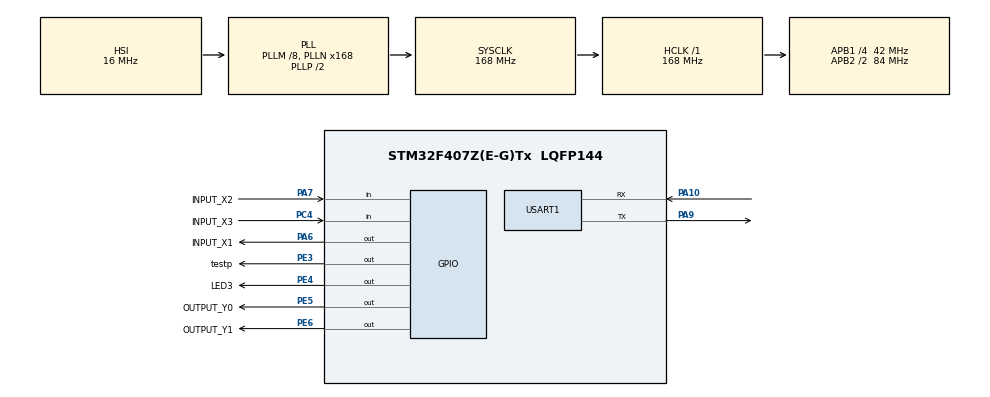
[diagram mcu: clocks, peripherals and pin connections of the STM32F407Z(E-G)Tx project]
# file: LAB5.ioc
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Mcu.Family=STM32F4
Mcu.Name=STM32F407Z(E-G)Tx
Mcu.Package=LQFP144
NVIC.PriorityGroup=NVIC_PRIORITYGROUP_4
NVIC.USART1_IRQn=true\:0\:0\:false\:false\:true\:true\:true\:true
PA10.Mode=Asynchronous
PA10.Signal=USART1_RX
PA13.Mode=Serial_Wire
PA13.Signal=SYS_JTMS-SWDIO
PA14.Mode=Serial_Wire
PA14.Signal=SYS_JTCK-SWCLK
PA6.GPIO_Label=INPUT_X1
PA6.Signal=GPIO_Output
PA7.GPIO_Label=INPUT_X2
PA7.Signal=GPIO_Input
PA9.Mode=Asynchronous
PA9.Signal=USART1_TX
PC4.GPIO_Label=INPUT_X3
PC4.Signal=GPIO_Input
PE3.GPIO_Label=testp
PE3.Signal=GPIO_Output
PE4.GPIO_Label=LED3
PE4.Signal=GPIO_Output
PE5.GPIO_Label=OUTPUT_Y0
PE5.Signal=GPIO_Output
PE6.GPIO_Label=OUTPUT_Y1
PE6.Signal=GPIO_Output
PH0-OSC_IN.Mode=HSE-External-Oscillator
PH0-OSC_IN.Signal=RCC_OSC_IN
PH1-OSC_OUT.Mode=HSE-External-Oscillator
PH1-OSC_OUT.Signal=RCC_OSC_OUT
ProjectManager.HeapSize=0x200
ProjectManager.StackSize=0x400
ProjectManager.TargetToolchain=STM32CubeIDE
RCC.48MHZClocksFreq_Value=84000000
RCC.AHBFreq_Value=168000000
RCC.APB1CLKDivider=RCC_HCLK_DIV4
RCC.APB1Freq_Value=42000000
RCC.APB1TimFreq_Value=84000000
RCC.APB2CLKDivider=RCC_HCLK_DIV2
RCC.APB2Freq_Value=84000000
RCC.APB2TimFreq_Value=168000000
RCC.CortexFreq_Value=168000000
RCC.HCLKFreq_Value=168000000
RCC.HSE_VALUE=8000000
RCC.HSI_VALUE=16000000
RCC.LSE_VALUE=32768
RCC.PLLM=8
RCC.PLLN=168
RCC.SYSCLKFreq_VALUE=168000000
RCC.SYSCLKSource=RCC_SYSCLKSOURCE_PLLCLK
RCC.VCOOutputFreq_Value=336000000
USART1.VirtualMode=VM_ASYNC
board=custom

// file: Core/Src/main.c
/* USER CODE BEGIN Header */
/**
  ******************************************************************************
  * @file           : main.c
  * @brief          : Main program body
  ******************************************************************************
  * @attention
  *
  * Copyright (c) 2025 STMicroelectronics.
  * All rights reserved.
  *
  * This software is licensed under terms that can be found in the LICENSE file
  * in the root directory of this software component.
  * If no LICENSE file comes with this software, it is provided AS-IS.
  *
  ******************************************************************************
  */
/* USER CODE END Header */
#include "main.h"
//#include "software_timer.h"
//#include "led_7seg.h"
//#include "button.h"
#include "uart.h"

/* USER CODE BEGIN PTD */
void system_init();
void test_LedDebug();
void test_Uart();
/* USER CODE END PTD */

UART_HandleTypeDef huart1;

/* USER CODE BEGIN PV */
#define UART_BUFFER_SIZE 64
volatile uint8_t uart_rx_buffer[UART_BUFFER_SIZE];

volatile uint16_t uart_rx_head = 0;  	//receive
volatile uint16_t uart_rx_tail = 0;		//receive

extern uint8_t receive_buffer1;
/* USER CODE END PV */

void SystemClock_Config(void);
static void MX_GPIO_Init(void);
static void MX_USART1_UART_Init(void);

/* USER CODE BEGIN 0 */
void process_uart_data(void) {
    // Kiểm tra xem có dữ liệu mới trong buffer không
    if (uart_rx_tail != uart_rx_head) {
        // Lấy 1 byte từ buffer
        uint8_t data = uart_rx_buffer[uart_rx_tail];

        // Cập nhật vị trí 'tail'
        uart_rx_tail = (uart_rx_tail + 1) % UART_BUFFER_SIZE;

        // --- Xử lý dữ liệu 'data' ở đây ---
        // Ví dụ: Gửi (echo) lại máy tính để kiểm tra
        HAL_UART_Transmit(&huart1, &data, 1, 10);
    }
}

/* USER CODE END 0 */

int main(void)
{

  /* MCU Configuration--------------------------------------------------------*/

  /* Reset of all peripherals, Initializes the Flash interface and the Systick. */
  HAL_Init();

  /* Configure the system clock */
  SystemClock_Config();

  /* Initialize all configured peripherals */
  MX_GPIO_Init();
  MX_USART1_UART_Init();
  /* USER CODE BEGIN 2 */
system_init();
  /* USER CODE END 2 */

  /* Infinite loop */
  /* USER CODE BEGIN WHILE */
//while (! flag_timer2 ) ;
//	flag_timer2 = 0;
//	//button_Scan () ;
//	test_LedDebug () ;
//	ds3231_ReadTime () ;
//	test_Uart () ;

  while (1)	{
	  ds3231_ReadTime() ; // Tú làm hàm này
	  test_Uart () ;
	  process_uart_data();

    /* USER CODE END WHILE */

  }
}

void SystemClock_Config(void)
{
  RCC_OscInitTypeDef RCC_OscInitStruct = {0};
  RCC_ClkInitTypeDef RCC_ClkInitStruct = {0};

  /** Configure the main internal regulator output voltage
  */
  __HAL_RCC_PWR_CLK_ENABLE();
  __HAL_PWR_VOLTAGESCALING_CONFIG(PWR_REGULATOR_VOLTAGE_SCALE1);

  /** Initializes the RCC Oscillators according to the specified parameters
  * in the RCC_OscInitTypeDef structure.
  */
  RCC_OscInitStruct.OscillatorType = RCC_OSCILLATORTYPE_HSI;
  RCC_OscInitStruct.HSIState = RCC_HSI_ON;
  RCC_OscInitStruct.HSICalibrationValue = RCC_HSICALIBRATION_DEFAULT;
  RCC_OscInitStruct.PLL.PLLState = RCC_PLL_ON;
  RCC_OscInitStruct.PLL.PLLSource = RCC_PLLSOURCE_HSI;
  RCC_OscInitStruct.PLL.PLLM = 8;
  RCC_OscInitStruct.PLL.PLLN = 168;
  RCC_OscInitStruct.PLL.PLLP = RCC_PLLP_DIV2;
  RCC_OscInitStruct.PLL.PLLQ = 4;
  if (HAL_RCC_OscConfig(&RCC_OscInitStruct) != HAL_OK)
  {
    Error_Handler();
  }

  /** Initializes the CPU, AHB and APB buses clocks
  */
  RCC_ClkInitStruct.ClockType = RCC_CLOCKTYPE_HCLK|RCC_CLOCKTYPE_SYSCLK
                              |RCC_CLOCKTYPE_PCLK1|RCC_CLOCKTYPE_PCLK2;
  RCC_ClkInitStruct.SYSCLKSource = RCC_SYSCLKSOURCE_PLLCLK;
  RCC_ClkInitStruct.AHBCLKDivider = RCC_SYSCLK_DIV1;
  RCC_ClkInitStruct.APB1CLKDivider = RCC_HCLK_DIV4;
  RCC_ClkInitStruct.APB2CLKDivider = RCC_HCLK_DIV2;

  if (HAL_RCC_ClockConfig(&RCC_ClkInitStruct, FLASH_LATENCY_5) != HAL_OK)
  {
    Error_Handler();
  }
}

static void MX_USART1_UART_Init(void)
{

  huart1.Instance = USART1;
  huart1.Init.BaudRate = 115200;
  huart1.Init.WordLength = UART_WORDLENGTH_8B;
  huart1.Init.StopBits = UART_STOPBITS_1;
  huart1.Init.Parity = UART_PARITY_NONE;
  huart1.Init.Mode = UART_MODE_TX_RX;
  huart1.Init.HwFlowCtl = UART_HWCONTROL_NONE;
  huart1.Init.OverSampling = UART_OVERSAMPLING_16;
  if (HAL_UART_Init(&huart1) != HAL_OK)
  {
    Error_Handler();
  }

}

static void MX_GPIO_Init(void)
{
  GPIO_InitTypeDef GPIO_InitStruct = {0};

  /* GPIO Ports Clock Enable */
  __HAL_RCC_GPIOE_CLK_ENABLE();
  __HAL_RCC_GPIOH_CLK_ENABLE();
  __HAL_RCC_GPIOA_CLK_ENABLE();
  __HAL_RCC_GPIOC_CLK_ENABLE();

  /*Configure GPIO pin Output Level */
  HAL_GPIO_WritePin(GPIOE, testp_Pin|LED3_Pin|OUTPUT_Y0_Pin|OUTPUT_Y1_Pin, GPIO_PIN_RESET);

  /*Configure GPIO pin Output Level */
  HAL_GPIO_WritePin(INPUT_X1_GPIO_Port, INPUT_X1_Pin, GPIO_PIN_RESET);

  /*Configure GPIO pins : testp_Pin LED3_Pin OUTPUT_Y0_Pin OUTPUT_Y1_Pin */
  GPIO_InitStruct.Pin = testp_Pin|LED3_Pin|OUTPUT_Y0_Pin|OUTPUT_Y1_Pin;
  GPIO_InitStruct.Mode = GPIO_MODE_OUTPUT_PP;
  GPIO_InitStruct.Pull = GPIO_NOPULL;
  GPIO_InitStruct.Speed = GPIO_SPEED_FREQ_LOW;
  HAL_GPIO_Init(GPIOE, &GPIO_InitStruct);

  /*Configure GPIO pin : INPUT_X1_Pin */
  GPIO_InitStruct.Pin = INPUT_X1_Pin;
  GPIO_InitStruct.Mode = GPIO_MODE_OUTPUT_PP;
  GPIO_InitStruct.Pull = GPIO_NOPULL;
  GPIO_InitStruct.Speed = GPIO_SPEED_FREQ_LOW;
  HAL_GPIO_Init(INPUT_X1_GPIO_Port, &GPIO_InitStruct);

  /*Configure GPIO pin : INPUT_X2_Pin */
  GPIO_InitStruct.Pin = INPUT_X2_Pin;
  GPIO_InitStruct.Mode = GPIO_MODE_INPUT;
  GPIO_InitStruct.Pull = GPIO_NOPULL;
  HAL_GPIO_Init(INPUT_X2_GPIO_Port, &GPIO_InitStruct);

  /*Configure GPIO pin : INPUT_X3_Pin */
  GPIO_InitStruct.Pin = INPUT_X3_Pin;
  GPIO_InitStruct.Mode = GPIO_MODE_INPUT;
  GPIO_InitStruct.Pull = GPIO_NOPULL;
  HAL_GPIO_Init(INPUT_X3_GPIO_Port, &GPIO_InitStruct);

}

/* USER CODE BEGIN 4 */
void system_init () {
 timer_init () ;
 led7_init () ;
 button_init () ;
 lcd_init () ;
 uart_init_rs232 () ;
 setTimer2 (50) ;
 }

void test_LedDebug () {
 count_led_debug = ( count_led_debug + 1) %20;
 if( count_led_debug == 0) {
	 HAL_GPIO_TogglePin ( DEBUG_LED_GPIO_Port , DEBUG_LED_Pin ) ;
 }
}

void test_Uart () {
	if( button_count [12] == 1) {
		uart_Rs232SendNum ( ds3231_hours ) ;
		uart_Rs232SendString (":") ;
		uart_Rs232SendNum ( ds3231_min ) ;
		uart_Rs232SendString (":") ;
		uart_Rs232SendNum ( ds3231_sec ) ;
		uart_Rs232SendString ("\n") ;
		}
 	 }

/* USER CODE END 4 */

void Error_Handler(void)
{
  __disable_irq();
  while (1)
  {
  }
}
